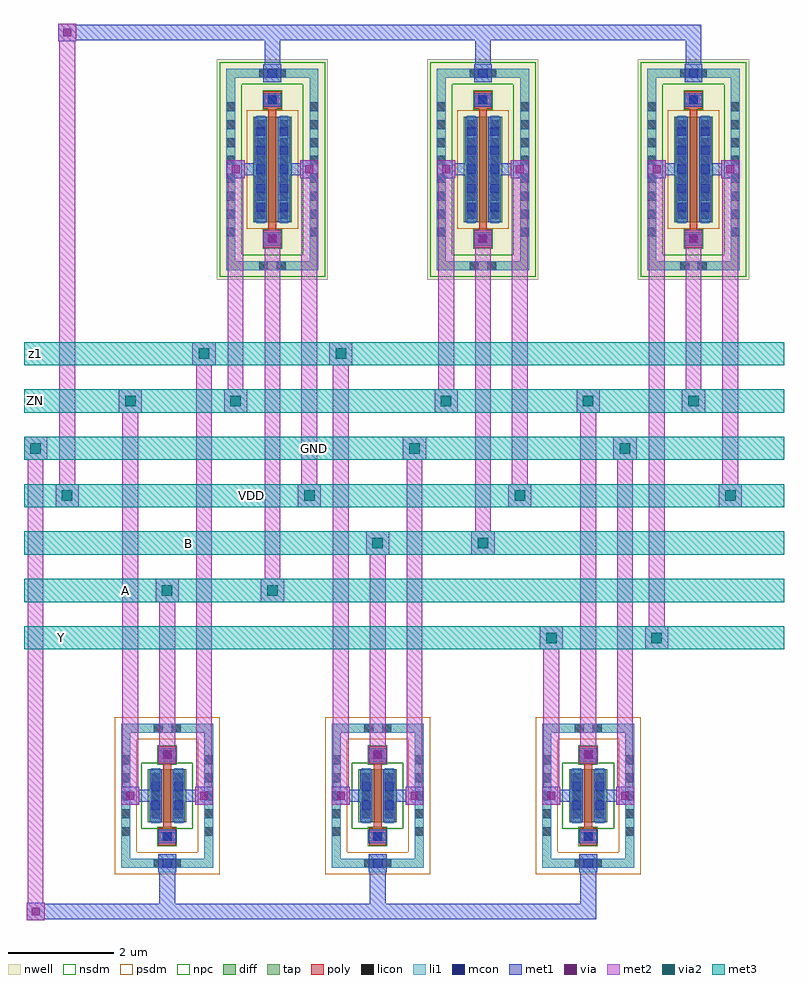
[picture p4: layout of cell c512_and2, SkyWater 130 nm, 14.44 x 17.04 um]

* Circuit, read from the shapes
.subckt c512_and2 A B GND VDD Y ZN z1
XM1 z1 A ZN GND sky130_fd_pr__nfet_01v8 w=1 l=0.15
XM2 GND B z1 GND sky130_fd_pr__nfet_01v8 w=1 l=0.15
XM3 GND ZN Y GND sky130_fd_pr__nfet_01v8 w=1 l=0.15
XM4 VDD A ZN VDD sky130_fd_pr__pfet_01v8 w=2 l=0.15
XM5 VDD B ZN VDD sky130_fd_pr__pfet_01v8 w=2 l=0.15
XM6 VDD ZN Y VDD sky130_fd_pr__pfet_01v8 w=2 l=0.15
.ends

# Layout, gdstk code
import gdstk
lib = gdstk.Library(unit=1e-6, precision=1e-09)
def R(c, l, rs):  # rectangles x0, y0, x1, y1
    for r in rs: c.add(gdstk.rectangle(r[:2], r[2:], *l))
def A(c, l, x, y, w, h, nx, ny, dx, dy):  # array of equal rectangles
    R(c, l, [(x+i*dx, y+j*dy, x+i*dx+w, y+j*dy+h) for i in range(nx) for j in range(ny)])
nwell = (64, 20)
diff = (65, 20)
tap = (65, 44)
poly = (66, 20)
licon = (66, 44)
li1 = (67, 20)
mcon = (67, 44)
met1 = (68, 20)
via = (68, 44)
met2 = (69, 20)
via2 = (69, 44)
met3 = (70, 20)
nsdm = (93, 44)
psdm = (94, 20)
npc = (95, 20)

c512_and2 = lib.new_cell('c512_and2')
A(c512_and2, nwell, 3.945, 9.805, 2.11, 4.19, 3, 1, 4, 0)
A(c512_and2, diff, 2.635, -0.5, 0.73, 1, 3, 1, 4, 0)
A(c512_and2, diff, 4.635, 10.9, 0.73, 2, 3, 1, 4, 0)
A(c512_and2, tap, 2.125, -1.37, 1.75, 0.17, 3, 2, 4, 2.57)
A(c512_and2, tap, 4.125, 9.985, 1.75, 0.17, 3, 2, 4, 3.66)
R(c512_and2, tap, [(2.125,-1.2,2.295,1.2), (3.705,-1.2,3.875,1.2), (6.125,-1.2,6.295,1.2), (7.705,-1.2,7.875,1.2), (10.125,-1.2,10.295,1.2), (11.705,-1.2,11.875,1.2), (4.125,10.155,4.295,13.645), (5.705,10.155,5.875,13.645), (8.125,10.155,8.295,13.645), (9.705,10.155,9.875,13.645), (12.125,10.155,12.295,13.645), (13.705,10.155,13.875,13.645)])
A(c512_and2, poly, 2.835, -0.94, 0.33, 0.33, 3, 2, 4, 1.55)
A(c512_and2, poly, 2.925, -0.61, 0.15, 1.22, 3, 1, 4, 0)
A(c512_and2, poly, 4.835, 10.415, 0.33, 0.33, 3, 2, 4, 2.64)
A(c512_and2, poly, 4.925, 10.745, 0.15, 2.31, 3, 1, 4, 0)
A(c512_and2, licon, 2.915, -0.86, 0.17, 0.17, 3, 2, 4, 1.55)
A(c512_and2, licon, 2.125, -0.765, 0.17, 0.17, 1, 5, 0, 0.34)
A(c512_and2, licon, 3.705, -0.765, 0.17, 0.17, 1, 5, 0, 0.34)
A(c512_and2, licon, 6.125, -0.765, 0.17, 0.17, 1, 5, 0, 0.34)
A(c512_and2, licon, 7.705, -0.765, 0.17, 0.17, 1, 5, 0, 0.34)
A(c512_and2, licon, 10.125, -0.765, 0.17, 0.17, 1, 5, 0, 0.34)
A(c512_and2, licon, 11.705, -0.765, 0.17, 0.17, 1, 5, 0, 0.34)
A(c512_and2, licon, 2.695, -0.425, 0.17, 0.17, 1, 3, 0, 0.34)
A(c512_and2, licon, 3.135, -0.425, 0.17, 0.17, 1, 3, 0, 0.34)
A(c512_and2, licon, 6.695, -0.425, 0.17, 0.17, 1, 3, 0, 0.34)
A(c512_and2, licon, 7.135, -0.425, 0.17, 0.17, 1, 3, 0, 0.34)
A(c512_and2, licon, 10.695, -0.425, 0.17, 0.17, 1, 3, 0, 0.34)
A(c512_and2, licon, 11.135, -0.425, 0.17, 0.17, 1, 3, 0, 0.34)
A(c512_and2, licon, 4.915, 10.495, 0.17, 0.17, 3, 2, 4, 2.64)
A(c512_and2, licon, 4.125, 10.625, 0.17, 0.17, 1, 8, 0, 0.34)
A(c512_and2, licon, 5.705, 10.625, 0.17, 0.17, 1, 8, 0, 0.34)
A(c512_and2, licon, 8.125, 10.625, 0.17, 0.17, 1, 8, 0, 0.34)
A(c512_and2, licon, 9.705, 10.625, 0.17, 0.17, 1, 8, 0, 0.34)
A(c512_and2, licon, 12.125, 10.625, 0.17, 0.17, 1, 8, 0, 0.34)
A(c512_and2, licon, 13.705, 10.625, 0.17, 0.17, 1, 8, 0, 0.34)
A(c512_and2, licon, 4.695, 10.965, 0.17, 0.17, 1, 6, 0, 0.34)
A(c512_and2, licon, 5.135, 10.965, 0.17, 0.17, 1, 6, 0, 0.34)
A(c512_and2, licon, 8.695, 10.965, 0.17, 0.17, 1, 6, 0, 0.34)
A(c512_and2, licon, 9.135, 10.965, 0.17, 0.17, 1, 6, 0, 0.34)
A(c512_and2, licon, 12.695, 10.965, 0.17, 0.17, 1, 6, 0, 0.34)
A(c512_and2, licon, 13.135, 10.965, 0.17, 0.17, 1, 6, 0, 0.34)
R(c512_and2, licon, [(2.745,-1.37,2.915,-1.2), (3.085,-1.37,3.255,-1.2), (6.745,-1.37,6.915,-1.2), (7.085,-1.37,7.255,-1.2), (10.745,-1.37,10.915,-1.2), (11.085,-1.37,11.255,-1.2), (2.745,1.2,2.915,1.37), (3.085,1.2,3.255,1.37), (6.745,1.2,6.915,1.37), (7.085,1.2,7.255,1.37), (10.745,1.2,10.915,1.37), (11.085,1.2,11.255,1.37), (4.745,9.985,4.915,10.155), (5.085,9.985,5.255,10.155), (8.745,9.985,8.915,10.155), (9.085,9.985,9.255,10.155), (12.745,9.985,12.915,10.155), (13.085,9.985,13.255,10.155), (4.745,13.645,4.915,13.815), (5.085,13.645,5.255,13.815), (8.745,13.645,8.915,13.815), (9.085,13.645,9.255,13.815), (12.745,13.645,12.915,13.815), (13.085,13.645,13.255,13.815)])
A(c512_and2, li1, 2.83, -1.455, 0.34, 0.085, 3, 2, 4, 0.255)
A(c512_and2, li1, 2.125, -1.37, 1.75, 0.17, 3, 2, 4, 2.57)
A(c512_and2, li1, 2.835, -0.86, 0.33, 0.17, 3, 2, 4, 1.55)
A(c512_and2, li1, 4.125, 9.985, 1.75, 0.17, 3, 2, 4, 3.66)
A(c512_and2, li1, 4.835, 10.495, 0.33, 0.17, 3, 2, 4, 2.64)
A(c512_and2, li1, 4.83, 13.56, 0.34, 0.085, 3, 2, 4, 0.255)
R(c512_and2, li1, [(2.125,-1.2,2.295,1.2), (3.705,-1.2,3.875,1.2), (6.125,-1.2,6.295,1.2), (7.705,-1.2,7.875,1.2), (10.125,-1.2,10.295,1.2), (11.705,-1.2,11.875,1.2), (2.695,-0.52,2.865,0.52), (3.135,-0.52,3.305,0.52), (6.695,-0.52,6.865,0.52), (7.135,-0.52,7.305,0.52), (10.695,-0.52,10.865,0.52), (11.135,-0.52,11.305,0.52), (4.125,10.155,4.295,13.645), (5.705,10.155,5.875,13.645), (8.125,10.155,8.295,13.645), (9.705,10.155,9.875,13.645), (12.125,10.155,12.295,13.645), (13.705,10.155,13.875,13.645), (4.695,10.88,4.865,12.92), (5.135,10.88,5.305,12.92), (8.695,10.88,8.865,12.92), (9.135,10.88,9.305,12.92), (12.695,10.88,12.865,12.92), (13.135,10.88,13.305,12.92)])
A(c512_and2, mcon, 2.915, -1.37, 0.17, 0.17, 3, 2, 4, 0.51)
A(c512_and2, mcon, 2.915, 0.69, 0.17, 0.17, 3, 1, 4, 0)
A(c512_and2, mcon, 4.915, 10.495, 0.17, 0.17, 3, 2, 4, 2.64)
A(c512_and2, mcon, 4.695, 11.095, 0.17, 0.17, 1, 5, 0, 0.36)
A(c512_and2, mcon, 5.135, 11.095, 0.17, 0.17, 1, 5, 0, 0.36)
A(c512_and2, mcon, 8.695, 11.095, 0.17, 0.17, 1, 5, 0, 0.36)
A(c512_and2, mcon, 9.135, 11.095, 0.17, 0.17, 1, 5, 0, 0.36)
A(c512_and2, mcon, 12.695, 11.095, 0.17, 0.17, 1, 5, 0, 0.36)
A(c512_and2, mcon, 13.135, 11.095, 0.17, 0.17, 1, 5, 0, 0.36)
A(c512_and2, mcon, 4.915, 13.645, 0.17, 0.17, 3, 1, 4, 0)
R(c512_and2, mcon, [(2.695,-0.265,2.865,-0.095), (3.135,-0.265,3.305,-0.095), (6.695,-0.265,6.865,-0.095), (7.135,-0.265,7.305,-0.095), (10.695,-0.265,10.865,-0.095), (11.135,-0.265,11.305,-0.095), (2.695,0.095,2.865,0.265), (3.135,0.095,3.305,0.265), (6.695,0.095,6.865,0.265), (7.135,0.095,7.305,0.265), (10.695,0.095,10.865,0.265), (11.135,0.095,11.305,0.265)])
A(c512_and2, met1, 2.85, -2.05, 0.3, 0.595, 3, 1, 4, 0)
A(c512_and2, met1, 2.83, -1.455, 0.34, 0.34, 3, 1, 4, 0)
A(c512_and2, met1, 2.83, -0.905, 0.34, 0.26, 3, 2, 4, 1.55)
A(c512_and2, met1, 4.83, 10.45, 0.34, 0.26, 3, 2, 4, 2.64)
A(c512_and2, met1, 4.83, 13.56, 0.34, 0.34, 3, 1, 4, 0)
A(c512_and2, met1, 4.85, 13.9, 0.3, 0.45, 3, 1, 4, 0)
R(c512_and2, met1, [(0.33,-2.37,0.67,-2.35), (0.33,-2.35,11.15,-2.05), (0.33,-2.05,0.67,-2.03), (2.665,-0.5,2.895,-0.115), (3.105,-0.5,3.335,-0.115), (6.665,-0.5,6.895,-0.115), (7.105,-0.5,7.335,-0.115), (10.665,-0.5,10.895,-0.115), (11.105,-0.5,11.335,-0.115), (2.13,-0.17,2.47,-0.115), (3.53,-0.17,3.87,-0.115), (6.13,-0.17,6.47,-0.115), (7.53,-0.17,7.87,-0.115), (10.13,-0.17,10.47,-0.115), (11.53,-0.17,11.87,-0.115), (2.13,-0.115,2.895,0.115), (3.105,-0.115,3.87,0.115), (6.13,-0.115,6.895,0.115), (7.105,-0.115,7.87,0.115), (10.13,-0.115,10.895,0.115), (11.105,-0.115,11.87,0.115), (2.13,0.115,2.47,0.17), (2.665,0.115,2.895,0.5), (3.105,0.115,3.335,0.5), (3.53,0.115,3.87,0.17), (6.13,0.115,6.47,0.17), (6.665,0.115,6.895,0.5), (7.105,0.115,7.335,0.5), (7.53,0.115,7.87,0.17), (10.13,0.115,10.47,0.17), (10.665,0.115,10.895,0.5), (11.105,0.115,11.335,0.5), (11.53,0.115,11.87,0.17), (4.665,10.9,4.895,11.785), (5.105,10.9,5.335,11.785), (8.665,10.9,8.895,11.785), (9.105,10.9,9.335,11.785), (12.665,10.9,12.895,11.785), (13.105,10.9,13.335,11.785), (4.13,11.73,4.47,11.785), (5.53,11.73,5.87,11.785), (8.13,11.73,8.47,11.785), (9.53,11.73,9.87,11.785), (12.13,11.73,12.47,11.785), (13.53,11.73,13.87,11.785), (4.13,11.785,4.895,12.015), (5.105,11.785,5.87,12.015), (8.13,11.785,8.895,12.015), (9.105,11.785,9.87,12.015), (12.13,11.785,12.895,12.015), (13.105,11.785,13.87,12.015), (4.13,12.015,4.47,12.07), (4.665,12.015,4.895,12.9), (5.105,12.015,5.335,12.9), (5.53,12.015,5.87,12.07), (8.13,12.015,8.47,12.07), (8.665,12.015,8.895,12.9), (9.105,12.015,9.335,12.9), (9.53,12.015,9.87,12.07), (12.13,12.015,12.47,12.07), (12.665,12.015,12.895,12.9), (13.105,12.015,13.335,12.9), (13.53,12.015,13.87,12.07), (0.93,14.33,1.27,14.35), (0.93,14.35,13.15,14.65), (0.93,14.65,1.27,14.67)])
A(c512_and2, via, 2.925, 0.7, 0.15, 0.15, 3, 1, 4, 0)
A(c512_and2, via, 4.925, 10.505, 0.15, 0.15, 3, 1, 4, 0)
R(c512_and2, via, [(0.425,-2.275,0.575,-2.125), (2.225,-0.075,2.375,0.075), (3.625,-0.075,3.775,0.075), (6.225,-0.075,6.375,0.075), (7.625,-0.075,7.775,0.075), (10.225,-0.075,10.375,0.075), (11.625,-0.075,11.775,0.075), (4.225,11.825,4.375,11.975), (5.625,11.825,5.775,11.975), (8.225,11.825,8.375,11.975), (9.625,11.825,9.775,11.975), (12.225,11.825,12.375,11.975), (13.625,11.825,13.775,11.975), (1.025,14.425,1.175,14.575)])
A(c512_and2, met2, 2.83, 0.605, 0.34, 0.34, 3, 1, 4, 0)
A(c512_and2, met2, 5.48, 5.48, 0.44, 0.44, 3, 1, 4, 0)
A(c512_and2, met2, 5.55, 5.92, 0.3, 5.81, 3, 1, 4, 0)
A(c512_and2, met2, 4.83, 10.41, 0.34, 0.34, 3, 1, 4, 0)
R(c512_and2, met2, [(0.33,-2.37,0.67,-2.03), (0.35,-2.03,0.65,6.38), (2.13,-0.17,2.47,0.17), (3.53,-0.17,3.87,0.17), (6.13,-0.17,6.47,0.17), (7.53,-0.17,7.87,0.17), (10.13,-0.17,10.47,0.17), (11.53,-0.17,11.87,0.17), (2.15,0.17,2.45,7.28), (3.55,0.17,3.85,8.18), (6.15,0.17,6.45,8.18), (7.55,0.17,7.85,6.38), (10.15,0.17,10.45,2.78), (11.55,0.17,11.85,6.38), (2.85,0.945,3.15,3.68), (6.85,0.945,7.15,4.58), (10.85,0.945,11.15,7.28), (10.08,2.78,10.52,3.22), (12.08,2.78,12.52,3.22), (12.15,3.22,12.45,11.73), (2.78,3.68,3.22,4.12), (4.78,3.68,5.22,4.12), (4.85,4.12,5.15,10.41), (6.78,4.58,7.22,5.02), (8.78,4.58,9.22,5.02), (8.85,5.02,9.15,10.41), (0.88,5.48,1.32,5.92), (0.95,5.92,1.25,14.33), (0.28,6.38,0.72,6.82), (7.48,6.38,7.92,6.82), (11.48,6.38,11.92,6.82), (2.08,7.28,2.52,7.72), (4.08,7.28,4.52,7.72), (8.08,7.28,8.52,7.72), (10.78,7.28,11.22,7.72), (12.78,7.28,13.22,7.72), (4.15,7.72,4.45,11.73), (8.15,7.72,8.45,11.73), (12.85,7.72,13.15,10.41), (3.48,8.18,3.92,8.62), (6.08,8.18,6.52,8.62), (4.13,11.73,4.47,12.07), (5.53,11.73,5.87,12.07), (8.13,11.73,8.47,12.07), (9.53,11.73,9.87,12.07), (12.13,11.73,12.47,12.07), (13.53,11.73,13.87,12.07), (0.93,14.33,1.27,14.67)])
A(c512_and2, via2, 5.6, 5.6, 0.2, 0.2, 3, 1, 4, 0)
R(c512_and2, via2, [(10.2,2.9,10.4,3.1), (12.2,2.9,12.4,3.1), (2.9,3.8,3.1,4), (4.9,3.8,5.1,4), (6.9,4.7,7.1,4.9), (8.9,4.7,9.1,4.9), (1,5.6,1.2,5.8), (0.4,6.5,0.6,6.7), (7.6,6.5,7.8,6.7), (11.6,6.5,11.8,6.7), (2.2,7.4,2.4,7.6), (4.2,7.4,4.4,7.6), (8.2,7.4,8.4,7.6), (10.9,7.4,11.1,7.6), (12.9,7.4,13.1,7.6), (3.6,8.3,3.8,8.5), (6.2,8.3,6.4,8.5)])
A(c512_and2, met3, 0.28, 2.78, 14.44, 0.44, 1, 7, 0, 0.9)
A(c512_and2, nsdm, 2.51, -0.625, 0.98, 1.25, 3, 1, 4, 0)
A(c512_and2, nsdm, 4, 9.86, 2, 0.42, 3, 2, 4, 3.66)
R(c512_and2, nsdm, [(4,10.28,4.42,13.52), (5.58,10.28,6,13.52), (8,10.28,8.42,13.52), (9.58,10.28,10,13.52), (12,10.28,12.42,13.52), (13.58,10.28,14,13.52)])
A(c512_and2, psdm, 2, -1.495, 2, 0.42, 3, 2, 4, 2.57)
A(c512_and2, psdm, 4.51, 10.775, 0.98, 2.25, 3, 1, 4, 0)
R(c512_and2, psdm, [(2,-1.075,2.42,1.075), (3.58,-1.075,4,1.075), (6,-1.075,6.42,1.075), (7.58,-1.075,8,1.075), (10,-1.075,10.42,1.075), (11.58,-1.075,12,1.075)])
A(c512_and2, npc, 2.815, -0.96, 0.37, 0.37, 3, 2, 4, 1.55)
A(c512_and2, npc, 4.815, 10.395, 0.37, 0.37, 3, 2, 4, 2.64)
c512_and2.add(gdstk.Label('ZN', (0.5,7.5), layer=70, texttype=5))
c512_and2.add(gdstk.Label('z1', (0.5,8.4), layer=70, texttype=5))
c512_and2.add(gdstk.Label('Y', (1,3), layer=70, texttype=5))
c512_and2.add(gdstk.Label('A', (2.2,3.9), layer=70, texttype=5))
c512_and2.add(gdstk.Label('B', (3.4,4.8), layer=70, texttype=5))
c512_and2.add(gdstk.Label('VDD', (4.6,5.7), layer=70, texttype=5))
c512_and2.add(gdstk.Label('GND', (5.8,6.6), layer=70, texttype=5))

lib.write_gds('c512_and2.gds')
